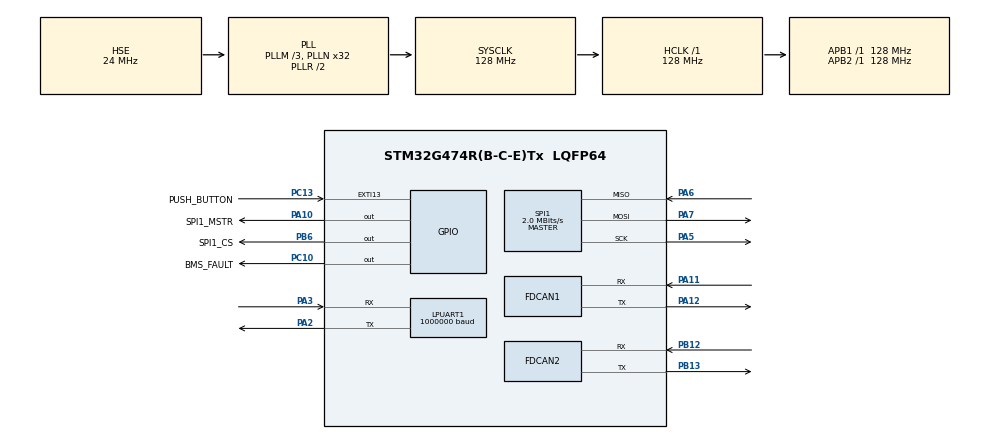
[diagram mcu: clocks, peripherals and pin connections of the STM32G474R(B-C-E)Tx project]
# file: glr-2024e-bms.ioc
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Dma.LPUART1_TX.0.Direction=DMA_MEMORY_TO_PERIPH
Dma.LPUART1_TX.0.EventEnable=DISABLE
Dma.LPUART1_TX.0.Instance=DMA1_Channel1
Dma.LPUART1_TX.0.MemDataAlignment=DMA_MDATAALIGN_BYTE
Dma.LPUART1_TX.0.MemInc=DMA_MINC_ENABLE
Dma.LPUART1_TX.0.Mode=DMA_NORMAL
Dma.LPUART1_TX.0.PeriphDataAlignment=DMA_PDATAALIGN_BYTE
Dma.LPUART1_TX.0.PeriphInc=DMA_PINC_DISABLE
Dma.LPUART1_TX.0.Polarity=HAL_DMAMUX_REQ_GEN_RISING
Dma.LPUART1_TX.0.Priority=DMA_PRIORITY_LOW
Dma.LPUART1_TX.0.RequestNumber=1
Dma.LPUART1_TX.0.SignalID=NONE
Dma.LPUART1_TX.0.SyncEnable=DISABLE
Dma.LPUART1_TX.0.SyncPolarity=HAL_DMAMUX_SYNC_NO_EVENT
Dma.LPUART1_TX.0.SyncRequestNumber=1
Dma.LPUART1_TX.0.SyncSignalID=NONE
Dma.Request0=LPUART1_TX
FDCAN1.CalculateBaudRateNominal=2666666
FDCAN1.CalculateTimeBitNominal=375
FDCAN1.CalculateTimeQuantumNominal=125.0
FDCAN2.CalculateBaudRateNominal=500000
FDCAN2.CalculateTimeBitNominal=2000
FDCAN2.CalculateTimeQuantumNominal=125.0
FDCAN2.NominalTimeSeg1=13
FDCAN2.NominalTimeSeg2=2
LPUART1.BaudRate=1000000
Mcu.Family=STM32G4
Mcu.Name=STM32G474R(B-C-E)Tx
Mcu.Package=LQFP64
NUCLEO-G474RE.BUTTON=0
NUCLEO-G474RE.Bsp_Common_DEMO=true
NUCLEO-G474RE.LD2=false
NUCLEO-G474RE.VCP=false
NVIC.DMA1_Channel1_IRQn=true\:0\:0\:false\:false\:true\:false\:true\:true
NVIC.LPUART1_IRQn=true\:0\:0\:false\:false\:true\:true\:true\:true
NVIC.PriorityGroup=NVIC_PRIORITYGROUP_4
PA10.GPIO_Label=SPI1_MSTR
PA10.PinState=GPIO_PIN_RESET
PA10.Signal=GPIO_Output
PA11.Mode=FDCAN_Activate
PA11.Signal=FDCAN1_RX
PA12.Mode=FDCAN_Activate
PA12.Signal=FDCAN1_TX
PA13.GPIO_Label=T_SWDIO
PA13.Mode=Serial_Wire
PA13.Signal=SYS_JTMS-SWDIO
PA14.GPIO_Label=T_SWCLK
PA14.Mode=Serial_Wire
PA14.Signal=SYS_JTCK-SWCLK
PA2.Mode=Asynchronous
PA2.Signal=LPUART1_TX
PA3.Mode=Asynchronous
PA3.Signal=LPUART1_RX
PA5.Mode=Full_Duplex_Master
PA5.Signal=SPI1_SCK
PA6.Mode=Full_Duplex_Master
PA6.Signal=SPI1_MISO
PA7.Mode=Full_Duplex_Master
PA7.Signal=SPI1_MOSI
PB12.Mode=FDCAN_Activate
PB12.Signal=FDCAN2_RX
PB13.Mode=FDCAN_Activate
PB13.Signal=FDCAN2_TX
PB3.GPIO_Label=T_SWO
PB3.Signal=SYS_JTDO-SWO
PB6.GPIO_Label=SPI1_CS
PB6.Signal=GPIO_Output
PC10.GPIO_Label=BMS_FAULT
PC10.Signal=GPIO_Output
PC13.GPIO_Label=PUSH_BUTTON
PC13.Signal=GPXTI13
PC14-OSC32_IN.GPIO_Label=RCC_OSC32_IN
PC14-OSC32_IN.Mode=LSE-External-Oscillator
PC14-OSC32_IN.Signal=RCC_OSC32_IN
PC15-OSC32_OUT.GPIO_Label=RCC_OSC32_OUT
PC15-OSC32_OUT.Mode=LSE-External-Oscillator
PC15-OSC32_OUT.Signal=RCC_OSC32_OUT
PF0-OSC_IN.GPIO_Label=RCC_OSC_IN
PF0-OSC_IN.Mode=HSE-External-Oscillator
PF0-OSC_IN.Signal=RCC_OSC_IN
PF1-OSC_OUT.GPIO_Label=RCC_OSC_OUT
PF1-OSC_OUT.Mode=HSE-External-Oscillator
PF1-OSC_OUT.Signal=RCC_OSC_OUT
ProjectManager.HeapSize=0x200
ProjectManager.StackSize=0x400
ProjectManager.TargetToolchain=STM32CubeIDE
RCC.ADC12Freq_Value=128000000
RCC.ADC345Freq_Value=128000000
RCC.AHBFreq_Value=128000000
RCC.APB1Freq_Value=128000000
RCC.APB1TimFreq_Value=128000000
RCC.APB2Freq_Value=128000000
RCC.APB2TimFreq_Value=128000000
RCC.CortexFreq_Value=128000000
RCC.EXTERNAL_CLOCK_VALUE=12288000
RCC.HCLKFreq_Value=128000000
RCC.HSE_VALUE=24000000
RCC.HSI48_VALUE=48000000
RCC.HSI_VALUE=16000000
RCC.PLLM=RCC_PLLM_DIV3
RCC.PLLN=32
RCC.PLLSourceVirtual=RCC_PLLSOURCE_HSE
RCC.RTCClockSelection=RCC_RTCCLKSOURCE_LSE
RCC.SYSCLKFreq_VALUE=128000000
RCC.SYSCLKSource=RCC_SYSCLKSOURCE_PLLCLK
RCC.USBFreq_Value=128000000
RCC.VCOOutputFreq_Value=256000000
SPI1.BaudRatePrescaler=SPI_BAUDRATEPRESCALER_64
SPI1.CalculateBaudRate=2.0 MBits/s
SPI1.DataSize=SPI_DATASIZE_8BIT
SPI1.Direction=SPI_DIRECTION_2LINES
SPI1.Mode=SPI_MODE_MASTER
SPI1.VirtualType=VM_MASTER
TIM16.PeriodNoDither=10000 - 1
TIM16.Prescaler=12800 - 1
TIM2.Prescaler=128-1
VP_SYS_VS_DBSignals.Mode=DisableDeadBatterySignals
VP_TIM16_VS_ClockSourceINT.Mode=Enable_Timer
VP_TIM2_VS_ClockSourceINT.Mode=Internal
board=NUCLEO-G474RE

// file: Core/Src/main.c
/* USER CODE BEGIN Header */
/**
  ******************************************************************************
  * @file           : main.c
  * @brief          : Main program body
  ******************************************************************************
  * @attention
  *
  * Copyright (c) 2025 STMicroelectronics.
  * All rights reserved.
  *
  * This software is licensed under terms that can be found in the LICENSE file
  * in the root directory of this software component.
  * If no LICENSE file comes with this software, it is provided AS-IS.
  *
  ******************************************************************************
  */
/* USER CODE END Header */
#include "main.h"

/* USER CODE BEGIN Includes */
#include "uartDMA.h"
#include "adBms_Application.h"
/* USER CODE END Includes */

FDCAN_HandleTypeDef hfdcan1;
FDCAN_HandleTypeDef hfdcan2;

UART_HandleTypeDef hlpuart1;
DMA_HandleTypeDef hdma_lpuart1_tx;

SPI_HandleTypeDef hspi1;

TIM_HandleTypeDef htim2;
TIM_HandleTypeDef htim16;

void SystemClock_Config(void);
static void MX_GPIO_Init(void);
static void MX_DMA_Init(void);
static void MX_FDCAN1_Init(void);
static void MX_FDCAN2_Init(void);
static void MX_LPUART1_UART_Init(void);
static void MX_SPI1_Init(void);
static void MX_TIM2_Init(void);
static void MX_TIM16_Init(void);

int main(void)
{

  /* MCU Configuration--------------------------------------------------------*/

  /* Reset of all peripherals, Initializes the Flash interface and the Systick. */
  HAL_Init();

  /* Configure the system clock */
  SystemClock_Config();

  /* Initialize all configured peripherals */
  MX_GPIO_Init();
  MX_DMA_Init();
  MX_FDCAN1_Init();
  MX_FDCAN2_Init();
  MX_LPUART1_UART_Init();
  MX_SPI1_Init();
  MX_TIM2_Init();
  MX_TIM16_Init();
  /* USER CODE BEGIN 2 */
  // Set MSTR pin high to enable 6822 in master mode
  HAL_GPIO_WritePin(SPI1_MSTR_GPIO_Port, SPI1_MSTR_Pin, GPIO_PIN_SET);
  adbms_main();
  /* USER CODE END 2 */

  /* Infinite loop */
  while (1)
  {

  }
}

void SystemClock_Config(void)
{
  RCC_OscInitTypeDef RCC_OscInitStruct = {0};
  RCC_ClkInitTypeDef RCC_ClkInitStruct = {0};

  /** Configure the main internal regulator output voltage
  */
  HAL_PWREx_ControlVoltageScaling(PWR_REGULATOR_VOLTAGE_SCALE1);

  /** Initializes the RCC Oscillators according to the specified parameters
  * in the RCC_OscInitTypeDef structure.
  */
  RCC_OscInitStruct.OscillatorType = RCC_OSCILLATORTYPE_HSE;
  RCC_OscInitStruct.HSEState = RCC_HSE_ON;
  RCC_OscInitStruct.PLL.PLLState = RCC_PLL_ON;
  RCC_OscInitStruct.PLL.PLLSource = RCC_PLLSOURCE_HSE;
  RCC_OscInitStruct.PLL.PLLM = RCC_PLLM_DIV3;
  RCC_OscInitStruct.PLL.PLLN = 32;
  RCC_OscInitStruct.PLL.PLLP = RCC_PLLP_DIV2;
  RCC_OscInitStruct.PLL.PLLQ = RCC_PLLQ_DIV2;
  RCC_OscInitStruct.PLL.PLLR = RCC_PLLR_DIV2;
  if (HAL_RCC_OscConfig(&RCC_OscInitStruct) != HAL_OK)
  {
    Error_Handler();
  }

  /** Initializes the CPU, AHB and APB buses clocks
  */
  RCC_ClkInitStruct.ClockType = RCC_CLOCKTYPE_HCLK|RCC_CLOCKTYPE_SYSCLK
                              |RCC_CLOCKTYPE_PCLK1|RCC_CLOCKTYPE_PCLK2;
  RCC_ClkInitStruct.SYSCLKSource = RCC_SYSCLKSOURCE_PLLCLK;
  RCC_ClkInitStruct.AHBCLKDivider = RCC_SYSCLK_DIV1;
  RCC_ClkInitStruct.APB1CLKDivider = RCC_HCLK_DIV1;
  RCC_ClkInitStruct.APB2CLKDivider = RCC_HCLK_DIV1;

  if (HAL_RCC_ClockConfig(&RCC_ClkInitStruct, FLASH_LATENCY_4) != HAL_OK)
  {
    Error_Handler();
  }
}

static void MX_FDCAN1_Init(void)
{

  hfdcan1.Instance = FDCAN1;
  hfdcan1.Init.ClockDivider = FDCAN_CLOCK_DIV1;
  hfdcan1.Init.FrameFormat = FDCAN_FRAME_CLASSIC;
  hfdcan1.Init.Mode = FDCAN_MODE_NORMAL;
  hfdcan1.Init.AutoRetransmission = DISABLE;
  hfdcan1.Init.TransmitPause = DISABLE;
  hfdcan1.Init.ProtocolException = DISABLE;
  hfdcan1.Init.NominalPrescaler = 16;
  hfdcan1.Init.NominalSyncJumpWidth = 1;
  hfdcan1.Init.NominalTimeSeg1 = 1;
  hfdcan1.Init.NominalTimeSeg2 = 1;
  hfdcan1.Init.DataPrescaler = 1;
  hfdcan1.Init.DataSyncJumpWidth = 1;
  hfdcan1.Init.DataTimeSeg1 = 1;
  hfdcan1.Init.DataTimeSeg2 = 1;
  hfdcan1.Init.StdFiltersNbr = 0;
  hfdcan1.Init.ExtFiltersNbr = 0;
  hfdcan1.Init.TxFifoQueueMode = FDCAN_TX_FIFO_OPERATION;
  if (HAL_FDCAN_Init(&hfdcan1) != HAL_OK)
  {
    Error_Handler();
  }

}

static void MX_FDCAN2_Init(void)
{

  hfdcan2.Instance = FDCAN2;
  hfdcan2.Init.ClockDivider = FDCAN_CLOCK_DIV1;
  hfdcan2.Init.FrameFormat = FDCAN_FRAME_CLASSIC;
  hfdcan2.Init.Mode = FDCAN_MODE_NORMAL;
  hfdcan2.Init.AutoRetransmission = DISABLE;
  hfdcan2.Init.TransmitPause = DISABLE;
  hfdcan2.Init.ProtocolException = DISABLE;
  hfdcan2.Init.NominalPrescaler = 16;
  hfdcan2.Init.NominalSyncJumpWidth = 1;
  hfdcan2.Init.NominalTimeSeg1 = 13;
  hfdcan2.Init.NominalTimeSeg2 = 2;
  hfdcan2.Init.DataPrescaler = 1;
  hfdcan2.Init.DataSyncJumpWidth = 1;
  hfdcan2.Init.DataTimeSeg1 = 1;
  hfdcan2.Init.DataTimeSeg2 = 1;
  hfdcan2.Init.StdFiltersNbr = 0;
  hfdcan2.Init.ExtFiltersNbr = 0;
  hfdcan2.Init.TxFifoQueueMode = FDCAN_TX_FIFO_OPERATION;
  if (HAL_FDCAN_Init(&hfdcan2) != HAL_OK)
  {
    Error_Handler();
  }

}

static void MX_LPUART1_UART_Init(void)
{

  hlpuart1.Instance = LPUART1;
  hlpuart1.Init.BaudRate = 1000000;
  hlpuart1.Init.WordLength = UART_WORDLENGTH_8B;
  hlpuart1.Init.StopBits = UART_STOPBITS_1;
  hlpuart1.Init.Parity = UART_PARITY_NONE;
  hlpuart1.Init.Mode = UART_MODE_TX_RX;
  hlpuart1.Init.HwFlowCtl = UART_HWCONTROL_NONE;
  hlpuart1.Init.OneBitSampling = UART_ONE_BIT_SAMPLE_DISABLE;
  hlpuart1.Init.ClockPrescaler = UART_PRESCALER_DIV1;
  hlpuart1.AdvancedInit.AdvFeatureInit = UART_ADVFEATURE_NO_INIT;
  if (HAL_UART_Init(&hlpuart1) != HAL_OK)
  {
    Error_Handler();
  }
  if (HAL_UARTEx_SetTxFifoThreshold(&hlpuart1, UART_TXFIFO_THRESHOLD_1_8) != HAL_OK)
  {
    Error_Handler();
  }
  if (HAL_UARTEx_SetRxFifoThreshold(&hlpuart1, UART_RXFIFO_THRESHOLD_1_8) != HAL_OK)
  {
    Error_Handler();
  }
  if (HAL_UARTEx_DisableFifoMode(&hlpuart1) != HAL_OK)
  {
    Error_Handler();
  }

}

static void MX_SPI1_Init(void)
{

  /* SPI1 parameter configuration*/
  hspi1.Instance = SPI1;
  hspi1.Init.Mode = SPI_MODE_MASTER;
  hspi1.Init.Direction = SPI_DIRECTION_2LINES;
  hspi1.Init.DataSize = SPI_DATASIZE_8BIT;
  hspi1.Init.CLKPolarity = SPI_POLARITY_LOW;
  hspi1.Init.CLKPhase = SPI_PHASE_1EDGE;
  hspi1.Init.NSS = SPI_NSS_SOFT;
  hspi1.Init.BaudRatePrescaler = SPI_BAUDRATEPRESCALER_64;
  hspi1.Init.FirstBit = SPI_FIRSTBIT_MSB;
  hspi1.Init.TIMode = SPI_TIMODE_DISABLE;
  hspi1.Init.CRCCalculation = SPI_CRCCALCULATION_DISABLE;
  hspi1.Init.CRCPolynomial = 7;
  hspi1.Init.CRCLength = SPI_CRC_LENGTH_DATASIZE;
  hspi1.Init.NSSPMode = SPI_NSS_PULSE_ENABLE;
  if (HAL_SPI_Init(&hspi1) != HAL_OK)
  {
    Error_Handler();
  }

}

static void MX_TIM2_Init(void)
{

  TIM_ClockConfigTypeDef sClockSourceConfig = {0};
  TIM_MasterConfigTypeDef sMasterConfig = {0};

  htim2.Instance = TIM2;
  htim2.Init.Prescaler = 128-1;
  htim2.Init.CounterMode = TIM_COUNTERMODE_UP;
  htim2.Init.Period = 4294967295;
  htim2.Init.ClockDivision = TIM_CLOCKDIVISION_DIV1;
  htim2.Init.AutoReloadPreload = TIM_AUTORELOAD_PRELOAD_DISABLE;
  if (HAL_TIM_Base_Init(&htim2) != HAL_OK)
  {
    Error_Handler();
  }
  sClockSourceConfig.ClockSource = TIM_CLOCKSOURCE_INTERNAL;
  if (HAL_TIM_ConfigClockSource(&htim2, &sClockSourceConfig) != HAL_OK)
  {
    Error_Handler();
  }
  sMasterConfig.MasterOutputTrigger = TIM_TRGO_RESET;
  sMasterConfig.MasterSlaveMode = TIM_MASTERSLAVEMODE_DISABLE;
  if (HAL_TIMEx_MasterConfigSynchronization(&htim2, &sMasterConfig) != HAL_OK)
  {
    Error_Handler();
  }

}

static void MX_TIM16_Init(void)
{

  htim16.Instance = TIM16;
  htim16.Init.Prescaler = 12800 - 1;
  htim16.Init.CounterMode = TIM_COUNTERMODE_UP;
  htim16.Init.Period = 9999;
  htim16.Init.ClockDivision = TIM_CLOCKDIVISION_DIV1;
  htim16.Init.RepetitionCounter = 0;
  htim16.Init.AutoReloadPreload = TIM_AUTORELOAD_PRELOAD_DISABLE;
  if (HAL_TIM_Base_Init(&htim16) != HAL_OK)
  {
    Error_Handler();
  }

}

static void MX_DMA_Init(void)
{

  /* DMA controller clock enable */
  __HAL_RCC_DMAMUX1_CLK_ENABLE();
  __HAL_RCC_DMA1_CLK_ENABLE();

  /* DMA interrupt init */
  /* DMA1_Channel1_IRQn interrupt configuration */
  HAL_NVIC_SetPriority(DMA1_Channel1_IRQn, 0, 0);
  HAL_NVIC_EnableIRQ(DMA1_Channel1_IRQn);

}

static void MX_GPIO_Init(void)
{
  GPIO_InitTypeDef GPIO_InitStruct = {0};

  /* GPIO Ports Clock Enable */
  __HAL_RCC_GPIOC_CLK_ENABLE();
  __HAL_RCC_GPIOF_CLK_ENABLE();
  __HAL_RCC_GPIOA_CLK_ENABLE();
  __HAL_RCC_GPIOB_CLK_ENABLE();

  /*Configure GPIO pin Output Level */
  HAL_GPIO_WritePin(SPI1_MSTR_GPIO_Port, SPI1_MSTR_Pin, GPIO_PIN_RESET);

  /*Configure GPIO pin Output Level */
  HAL_GPIO_WritePin(BMS_FAULT_GPIO_Port, BMS_FAULT_Pin, GPIO_PIN_RESET);

  /*Configure GPIO pin Output Level */
  HAL_GPIO_WritePin(SPI1_CS_GPIO_Port, SPI1_CS_Pin, GPIO_PIN_RESET);

  /*Configure GPIO pin : PUSH_BUTTON_Pin */
  GPIO_InitStruct.Pin = PUSH_BUTTON_Pin;
  GPIO_InitStruct.Mode = GPIO_MODE_IT_RISING;
  GPIO_InitStruct.Pull = GPIO_NOPULL;
  HAL_GPIO_Init(PUSH_BUTTON_GPIO_Port, &GPIO_InitStruct);

  /*Configure GPIO pin : SPI1_MSTR_Pin */
  GPIO_InitStruct.Pin = SPI1_MSTR_Pin;
  GPIO_InitStruct.Mode = GPIO_MODE_OUTPUT_PP;
  GPIO_InitStruct.Pull = GPIO_NOPULL;
  GPIO_InitStruct.Speed = GPIO_SPEED_FREQ_LOW;
  HAL_GPIO_Init(SPI1_MSTR_GPIO_Port, &GPIO_InitStruct);

  /*Configure GPIO pin : BMS_FAULT_Pin */
  GPIO_InitStruct.Pin = BMS_FAULT_Pin;
  GPIO_InitStruct.Mode = GPIO_MODE_OUTPUT_PP;
  GPIO_InitStruct.Pull = GPIO_NOPULL;
  GPIO_InitStruct.Speed = GPIO_SPEED_FREQ_LOW;
  HAL_GPIO_Init(BMS_FAULT_GPIO_Port, &GPIO_InitStruct);

  /*Configure GPIO pin : SPI1_CS_Pin */
  GPIO_InitStruct.Pin = SPI1_CS_Pin;
  GPIO_InitStruct.Mode = GPIO_MODE_OUTPUT_PP;
  GPIO_InitStruct.Pull = GPIO_NOPULL;
  GPIO_InitStruct.Speed = GPIO_SPEED_FREQ_LOW;
  HAL_GPIO_Init(SPI1_CS_GPIO_Port, &GPIO_InitStruct);

}

void Error_Handler(void)
{
  /* USER CODE BEGIN Error_Handler_Debug */
  /* User can add his own implementation to report the HAL error return state */
  __disable_irq();

  // If error occurs
  // Flash LD2 which is on same pin as SPI1_SCK
  // Thus reconfigure pin as SPI1 in fault state not needed

  // Deinit SPI1 to reclaim PA5
  HAL_SPI_DeInit(&hspi1);

  // Reconfigure PA5 as GPIO output
  GPIO_InitTypeDef GPIO_InitStruct = {0};
  __HAL_RCC_GPIOA_CLK_ENABLE();

  GPIO_InitStruct.Pin = GPIO_PIN_5;
  GPIO_InitStruct.Mode = GPIO_MODE_OUTPUT_PP;
  GPIO_InitStruct.Pull = GPIO_NOPULL;
  GPIO_InitStruct.Speed = GPIO_SPEED_FREQ_LOW;
  HAL_GPIO_Init(GPIOA, &GPIO_InitStruct);

  while (1)
  {
    HAL_GPIO_TogglePin(GPIOA, GPIO_PIN_5);

    // Crude software delay loop (~250ms depending on clock)
    // Since __disable_irq() disables HAL_Delay()
    for (int delay = 0; delay < 500000; delay++)
      __NOP();
  }
  /* USER CODE END Error_Handler_Debug */
}
